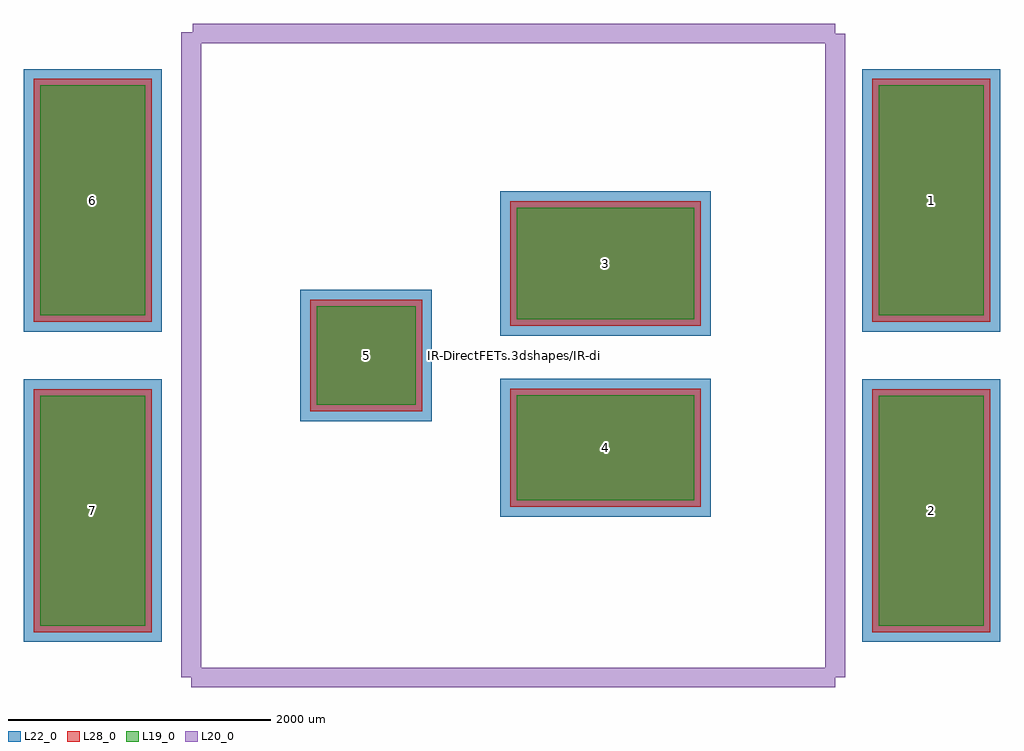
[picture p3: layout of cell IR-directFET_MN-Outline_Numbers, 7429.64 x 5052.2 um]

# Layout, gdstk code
import gdstk
lib = gdstk.Library(unit=1e-6, precision=1e-09)
def R(c, l, rs):  # rectangles x0, y0, x1, y1
    for r in rs: c.add(gdstk.rectangle(r[:2], r[2:], *l))
L19_0 = (19, 0)
L20_0 = (20, 0)
L22_0 = (22, 0)
L28_0 = (28, 0)

ir_directfet_mn_outline_ = lib.new_cell('IR-directFET_MN-Outline_Numbers')
R(ir_directfet_mn_outline_, L19_0, [(-3599.98,-2055.66,-2800.82,-306.54), (2780.5,-2055.66,3579.66,-306.54), (25.87,-1100.62,1376.21,-301.46), (-1495.59,-375.45,-744.69,375.45), (25.87,276.06,1376.21,1126.02), (-3599.98,306.54,-2800.82,2055.66), (2780.5,306.54,3579.66,2055.66)])
R(ir_directfet_mn_outline_, L22_0, [(-3724.98,-2180.66,-2675.82,-181.54), (2655.5,-2180.66,3704.66,-181.54), (-99.13,-1225.62,1501.21,-176.46), (-1620.59,-500.45,-619.69,500.45), (-99.13,151.06,1501.21,1251.02), (-3724.98,181.54,-2675.82,2180.66), (2655.5,181.54,3704.66,2180.66)])
R(ir_directfet_mn_outline_, L28_0, [(-3649.98,-2105.66,-2750.82,-256.54), (2730.5,-2105.66,3629.66,-256.54), (-24.13,-1150.62,1426.21,-251.46), (-1545.59,-425.45,-694.69,425.45), (-24.13,226.06,1426.21,1176.02), (-3649.98,256.54,-2750.82,2105.66), (2730.5,256.54,3629.66,2105.66)])
ir_directfet_mn_outline_.add(gdstk.FlexPath([(-2451.1,2451.1),(-2451.1,2461.26)], 149.998, ends="flush", simple_path=True, layer=20, datatype=0))  # L20_0
ir_directfet_mn_outline_.add(gdstk.FlexPath([(-2451.1,-2451.1),(-2451.1,2451.1)], 149.998, ends="flush", simple_path=True, layer=20, datatype=0))  # L20_0
ir_directfet_mn_outline_.add(gdstk.FlexPath([(2451.1,-2451.1),(-2451.1,-2451.1)], 149.998, ends="flush", simple_path=True, layer=20, datatype=0))  # L20_0
ir_directfet_mn_outline_.add(gdstk.FlexPath([(2451.1,2451.1),(2451.1,-2451.1)], 149.998, ends="flush", simple_path=True, layer=20, datatype=0))  # L20_0
ir_directfet_mn_outline_.add(gdstk.FlexPath([(-2440.94,2451.1),(2451.1,2451.1)], 149.998, ends="flush", simple_path=True, layer=20, datatype=0))  # L20_0
ir_directfet_mn_outline_.add(gdstk.Label('IR-DirectFETs.3dshapes/IR-directFET_MN-Outline_Numbers.wrl', (0,0), layer=12, texttype=0))
ir_directfet_mn_outline_.add(gdstk.Label('4', (701.04,-701.04), layer=28, texttype=0))
ir_directfet_mn_outline_.add(gdstk.Label('3', (701.04,701.04), layer=28, texttype=0))
ir_directfet_mn_outline_.add(gdstk.Label('2', (3180.08,-1181.1), layer=28, texttype=0))
ir_directfet_mn_outline_.add(gdstk.Label('1', (3180.08,1181.1), layer=28, texttype=0))
ir_directfet_mn_outline_.add(gdstk.Label('7', (-3200.4,-1181.1), layer=28, texttype=0))
ir_directfet_mn_outline_.add(gdstk.Label('6', (-3200.4,1181.1), layer=28, texttype=0))
ir_directfet_mn_outline_.add(gdstk.Label('5', (-1120.14,0), layer=28, texttype=0))
ir_directfet_mn_outline_.add(gdstk.Label('type', (0,-4572), layer=9, texttype=0))
ir_directfet_mn_outline_.add(gdstk.Label('devicename', (10.16,3919.22), layer=9, texttype=0))

lib.write_gds('IR-directFET_MN-Outline_Numbers.gds')
